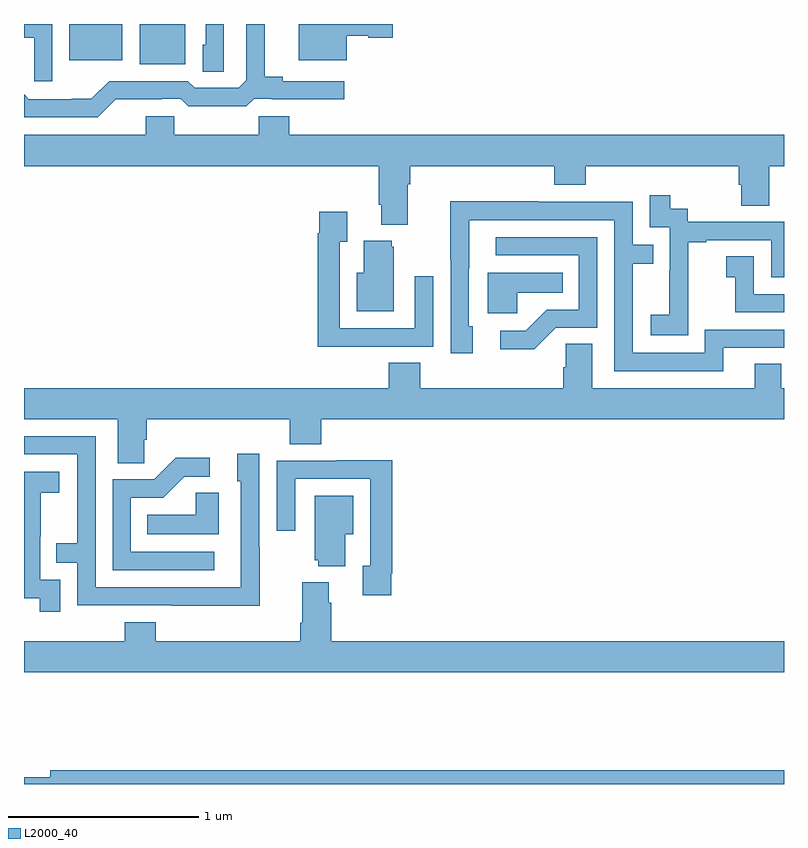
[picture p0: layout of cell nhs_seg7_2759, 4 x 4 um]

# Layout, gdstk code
import gdstk
lib = gdstk.Library(unit=1e-6, precision=1e-09)
def R(c, l, rs):  # rectangles x0, y0, x1, y1
    for r in rs: c.add(gdstk.rectangle(r[:2], r[2:], *l))
def P(c, l, *ps):  # polygons
    for p in ps: c.add(gdstk.Polygon(p, *l))
L2000_40 = (2000, 40)

nhs_seg7_2759 = lib.new_cell('nhs_seg7_2759')
R(nhs_seg7_2759, L2000_40, [(289.61,1031.789,289.849,1032), (289.238,1031.81,289.516,1032)])
P(nhs_seg7_2759, L2000_40, [(290.698,1031.939),(290.811,1031.939),(290.811,1031.927),(290.941,1031.927),(290.941,1032),(290.447,1032),(290.447,1031.81),(290.698,1031.81)],
  [(289.149,1032),(289,1032),(289,1031.928),(289.053,1031.928),(289.053,1031.7),(289.149,1031.7)],
  [(290.052,1032),(289.956,1032),(289.956,1031.892),(289.94,1031.892),(289.94,1031.749),(290.052,1031.749)],
  [(289.484,1031.603),(289.724,1031.603),(289.724,1031.607),(289.824,1031.607),(289.864,1031.568),(290.171,1031.568),(290.211,1031.607),(290.305,1031.607),(290.305,1031.603),(290.686,1031.603),(290.686,1031.7),(290.362,1031.7),(290.362,1031.723),(290.267,1031.723),(290.267,1032),(290.169,1032),(290.169,1031.703),(290.13,1031.664),(289.899,1031.664),(289.863,1031.7),(289.449,1031.7),(289.355,1031.606),(289.25,1031.606),(289.25,1031.604),(289.026,1031.604),(289,1031.63),(289,1031.508),(289.389,1031.508)],
  [(291.019,1031.156),(291.032,1031.156),(291.032,1031.252),(291.791,1031.252),(291.791,1031.153),(291.956,1031.153),(291.956,1031.252),(292.763,1031.252),(292.763,1031.154),(292.775,1031.154),(292.775,1031.044),(292.923,1031.044),(292.923,1031.252),(293,1031.252),(293,1031.416),(290.396,1031.416),(290.396,1031.514),(290.236,1031.514),(290.236,1031.416),(289.791,1031.416),(289.791,1031.514),(289.64,1031.514),(289.64,1031.416),(289,1031.416),(289,1031.252),(290.867,1031.252),(290.867,1031.05),(290.879,1031.05),(290.879,1030.943),(291.019,1030.943)],
  [(292.497,1030.567),(292.496,1030.567),(292.496,1030.851),(292.591,1030.851),(292.591,1030.863),(292.932,1030.863),(292.932,1030.668),(293,1030.668),(293,1030.959),(292.494,1030.959),(292.494,1031.028),(292.402,1031.028),(292.402,1031.098),(292.293,1031.098),(292.293,1030.929),(292.398,1030.929),(292.398,1030.7),(292.397,1030.7),(292.397,1030.471),(292.299,1030.471),(292.299,1030.361),(292.497,1030.361)],
  [(292.681,1030.296),(293,1030.296),(293,1030.392),(292.584,1030.392),(292.584,1030.269),(292.203,1030.269),(292.203,1030.738),(292.313,1030.738),(292.313,1030.839),(292.203,1030.839),(292.203,1031.064),(291.707,1031.064),(291.707,1031.066),(291.244,1031.066),(291.244,1030.759),(291.246,1030.759),(291.246,1030.266),(291.361,1030.266),(291.361,1030.41),(291.342,1030.41),(291.342,1030.714),(291.343,1030.714),(291.343,1030.968),(292.107,1030.968),(292.107,1030.173),(292.681,1030.173)],
  [(290.837,1030.302),(291.153,1030.302),(291.153,1030.672),(291.057,1030.672),(291.057,1030.398),(290.661,1030.398),(290.661,1030.855),(290.701,1030.855),(290.701,1031.011),(290.553,1031.011),(290.553,1030.898),(290.545,1030.898),(290.545,1030.301),(290.837,1030.301)],
  [(291.798,1030.401),(292.017,1030.401),(292.017,1030.878),(291.483,1030.878),(291.483,1030.782),(291.921,1030.782),(291.921,1030.497),(291.752,1030.497),(291.641,1030.386),(291.507,1030.386),(291.507,1030.289),(291.685,1030.289)],
  [(290.947,1030.827),(290.936,1030.827),(290.936,1030.858),(290.789,1030.858),(290.789,1030.69),(290.75,1030.69),(290.75,1030.487),(290.947,1030.487)],
  [(293,1030.578),(292.842,1030.578),(292.842,1030.777),(292.695,1030.777),(292.695,1030.667),(292.744,1030.667),(292.744,1030.482),(293,1030.482)],
  [(291.597,1030.586),(291.836,1030.586),(291.836,1030.69),(291.44,1030.69),(291.44,1030.478),(291.597,1030.478)],
  [(289.632,1029.811),(289.646,1029.811),(289.646,1029.92),(290.399,1029.92),(290.399,1029.787),(290.564,1029.787),(290.564,1029.92),(293,1029.92),(293,1030.084),(292.986,1030.084),(292.986,1030.211),(292.847,1030.211),(292.847,1030.084),(291.991,1030.084),(291.991,1030.316),(291.852,1030.316),(291.852,1030.193),(291.839,1030.193),(291.839,1030.084),(291.086,1030.084),(291.086,1030.217),(290.921,1030.217),(290.921,1030.084),(289,1030.084),(289,1029.92),(289.493,1029.92),(289.493,1029.688),(289.632,1029.688)],
  [(290.241,1029.245),(290.238,1029.245),(290.238,1029.739),(290.123,1029.739),(290.123,1029.594),(290.142,1029.594),(290.142,1029.036),(289.377,1029.036),(289.377,1029.831),(289,1029.831),(289,1029.735),(289.281,1029.735),(289.281,1029.266),(289.171,1029.266),(289.171,1029.165),(289.281,1029.165),(289.281,1028.94),(289.777,1028.94),(289.777,1028.939),(290.241,1028.939)],
  [(290.002,1029.222),(289.563,1029.222),(289.563,1029.507),(289.732,1029.507),(289.843,1029.618),(289.978,1029.618),(289.978,1029.716),(289.799,1029.716),(289.686,1029.603),(289.467,1029.603),(289.467,1029.126),(290.002,1029.126)],
  [(290.932,1029.106),(290.939,1029.106),(290.939,1029.704),(290.647,1029.704),(290.647,1029.702),(290.331,1029.702),(290.331,1029.333),(290.427,1029.333),(290.427,1029.606),(290.823,1029.606),(290.823,1029.15),(290.783,1029.15),(290.783,1028.994),(290.932,1028.994)],
  [(289.191,1029.075),(289.086,1029.075),(289.086,1029.305),(289.088,1029.305),(289.088,1029.533),(289.186,1029.533),(289.186,1029.643),(289,1029.643),(289,1028.977),(289.083,1028.977),(289.083,1028.907),(289.191,1028.907)],
  [(290.026,1029.533),(289.905,1029.533),(289.905,1029.418),(289.648,1029.418),(289.648,1029.314),(290.026,1029.314)],
  [(290.692,1029.314),(290.734,1029.314),(290.734,1029.517),(290.531,1029.517),(290.531,1029.177),(290.549,1029.177),(290.549,1029.146),(290.692,1029.146)],
  [(293,1028.752),(290.618,1028.752),(290.618,1028.954),(290.605,1028.954),(290.605,1029.061),(290.465,1029.061),(290.465,1028.848),(290.453,1028.848),(290.453,1028.752),(289.694,1028.752),(289.694,1028.851),(289.529,1028.851),(289.529,1028.752),(289,1028.752),(289,1028.588),(293,1028.588)],
  [(293,1028.072),(289.139,1028.072),(289.139,1028.036),(289,1028.036),(289,1028),(293,1028)])

lib.write_gds('nhs_seg7_2759.gds')
